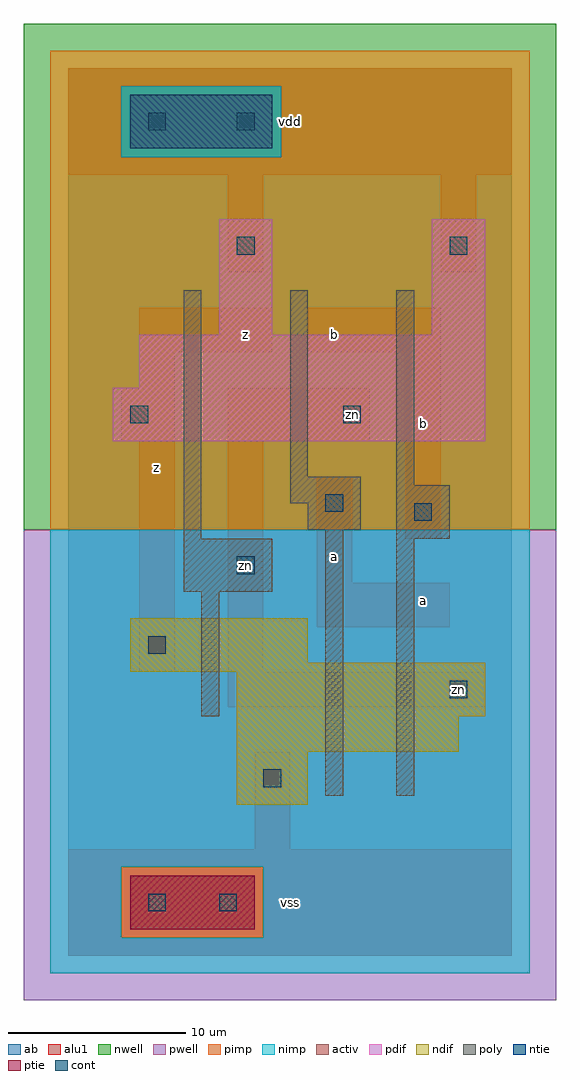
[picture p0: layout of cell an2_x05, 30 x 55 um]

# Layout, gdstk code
import gdstk
lib = gdstk.Library(unit=1e-6, precision=1e-09)
def R(c, l, rs):  # rectangles x0, y0, x1, y1
    for r in rs: c.add(gdstk.rectangle(r[:2], r[2:], *l))
ndif = (3, 0)
pdif = (4, 0)
ntie = (5, 0)
ptie = (6, 0)
cont = (25, 0)
pwell = (41, 0)
nwell = (42, 0)
activ = (43, 0)
pimp = (44, 0)
nimp = (45, 0)
poly = (46, 0)
alu1 = (49, 0)
ab = (63, 0)

an2_x05 = lib.new_cell('an2_x05')
R(an2_x05, ndif, [(9.5,8.5,13.5,11.5), (9.5,11.5,22,13.5), (9.5,13.5,23.5,16), (3.5,16,23.5,16.5), (3.5,16.5,13.5,19)])
R(an2_x05, pdif, [(2.5,29,23.5,32), (4,32,23.5,35), (8.5,35,11.5,41.5), (20.5,35,23.5,41.5)])
R(an2_x05, ntie, [(3.5,45.5,11.5,48.5)])
R(an2_x05, ptie, [(3.5,1.5,10.5,4.5)])
R(an2_x05, cont, [(4.5,2.5,5.5,3.5), (8.5,2.5,9.5,3.5), (11,9.5,12,10.5), (21.5,14.5,22.5,15.5), (4.5,17,5.5,18), (9.5,21.5,10.5,22.5), (19.5,24.5,20.5,25.5), (14.5,25,15.5,26), (3.5,30,4.5,31), (15.5,30,16.5,31), (9.5,39.5,10.5,40.5), (21.5,39.5,22.5,40.5), (4.5,46.5,5.5,47.5), (9.5,46.5,10.5,47.5)])
R(an2_x05, pwell, [(-2.5,-2.5,27.5,24)])
R(an2_x05, nwell, [(-2.5,24,27.5,52.5)])
R(an2_x05, activ, [(3.5,1.5,10.5,4.5), (9.5,8.5,13.5,11.5), (9.5,11.5,22,13.5), (9.5,13.5,23.5,16), (3.5,16,23.5,16.5), (3.5,16.5,13.5,19), (2.5,29,23.5,32), (4,32,23.5,35), (8.5,35,11.5,41.5), (20.5,35,23.5,41.5), (3.5,45.5,11.5,48.5)])
R(an2_x05, pimp, [(3,1,11,5), (-1,24,26,45), (-1,45,3,49), (12,45,26,49), (-1,49,26,51)])
R(an2_x05, nimp, [(-1,-1,26,1), (-1,1,3,5), (11,1,26,5), (-1,5,26,24), (3,45,12,49)])
R(an2_x05, poly, [(14.5,9,15.5,24), (18.5,9,19.5,23.5), (7.5,13.5,8.5,20.5), (6.5,20.5,11.5,23.5), (6.5,23.5,7.5,37.5), (18.5,23.5,21.5,26.5), (13.5,24,16.5,25.5), (12.5,25.5,16.5,27), (18.5,26.5,19.5,37.5), (12.5,27,13.5,37.5)])
R(an2_x05, alu1, [(0,0,25,6), (0,0,25,6), (10.5,6,12.5,11.5), (10.5,6,12.5,11.5), (9,14,23.5,16), (9,14,23.5,16), (4,16,6,29), (4,16,6,29), (9,16,11,29), (9,16,11,29), (14,18.5,21.5,21), (14,18.5,21.5,21), (14,21,16,27), (14,21,16,27), (19,23.5,21,34), (19,23.5,21,34), (3,29,6,32), (3,29,6,32), (9,29,17,32), (9,29,17,32), (4,32,6,34), (4,32,6,34), (4,34,11.5,36.5), (4,34,11.5,36.5), (13.5,34,21,36.5), (13.5,34,21,36.5), (9,38.5,11,44), (9,38.5,11,44), (21,38.5,23,44), (21,38.5,23,44), (0,44,25,50), (0,44,25,50)])
R(an2_x05, ab, [(0,0,25,50)])
an2_x05.add(gdstk.Label('zn', (10,22), layer=49, texttype=0))
an2_x05.add(gdstk.Label('zn', (22,15), layer=49, texttype=0))
an2_x05.add(gdstk.Label('zn', (16,30.5), layer=49, texttype=0))
an2_x05.add(gdstk.Label('z', (5,27.5), layer=49, texttype=0))
an2_x05.add(gdstk.Label('z', (10,35), layer=49, texttype=0))
an2_x05.add(gdstk.Label('vss', (12.5,3), layer=49, texttype=0))
an2_x05.add(gdstk.Label('a', (15,22.5), layer=49, texttype=0))
an2_x05.add(gdstk.Label('b', (15,35), layer=49, texttype=0))
an2_x05.add(gdstk.Label('vdd', (12.5,47), layer=49, texttype=0))
an2_x05.add(gdstk.Label('a', (20,20), layer=49, texttype=0))
an2_x05.add(gdstk.Label('b', (20,30), layer=49, texttype=0))

lib.write_gds('an2_x05.gds')
